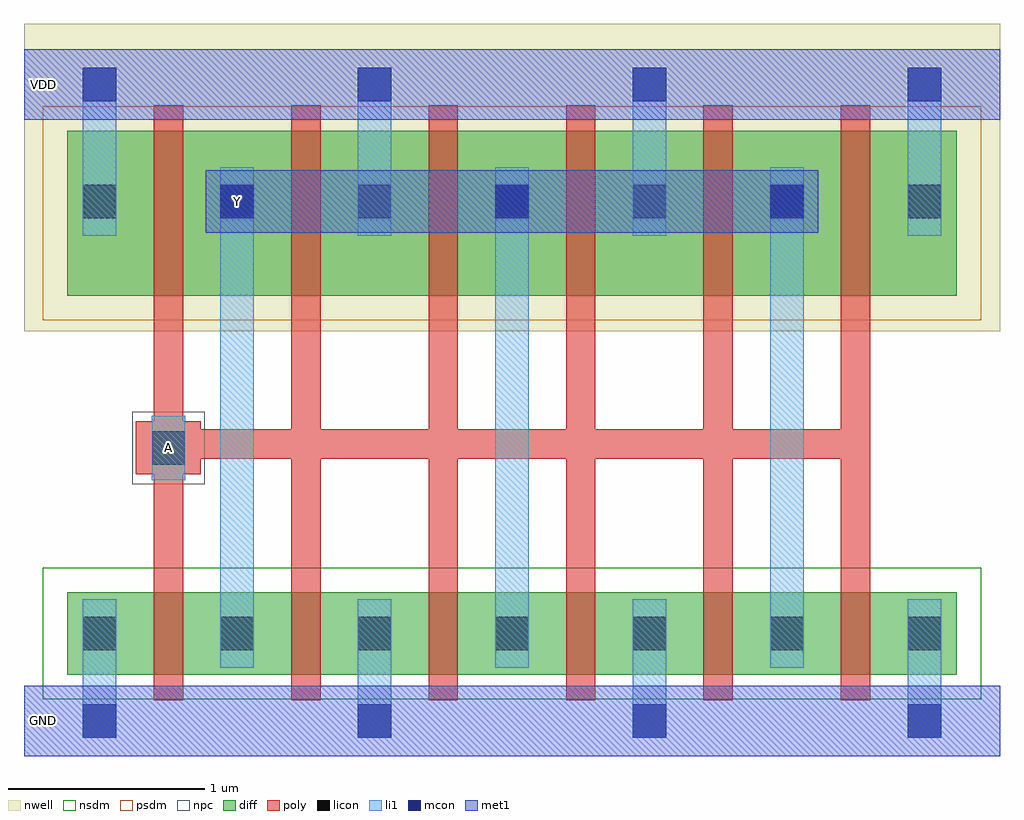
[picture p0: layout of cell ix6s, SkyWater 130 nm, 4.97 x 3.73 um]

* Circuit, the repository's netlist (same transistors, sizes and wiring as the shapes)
* NGSPICE file created from ix6s.ext - technology: sky130A

.subckt ix6s A Y VDD GND
X0 VDD A Y w_0_397# sky130_fd_pr__pfet_01v8 ad=0.231 pd=1.39 as=0.231 ps=1.39 w=0.84 l=0.15
X1 GND A Y VSUBS sky130_fd_pr__nfet_01v8 ad=0.1848 pd=1.72 as=0.1155 ps=0.97 w=0.42 l=0.15
X2 GND A Y VSUBS sky130_fd_pr__nfet_01v8 ad=0.1155 pd=0.97 as=0.1155 ps=0.97 w=0.42 l=0.15
X3 GND A Y VSUBS sky130_fd_pr__nfet_01v8 ad=0.1155 pd=0.97 as=0.1155 ps=0.97 w=0.42 l=0.15
X4 Y A VDD w_0_397# sky130_fd_pr__pfet_01v8 ad=0.231 pd=1.39 as=0.231 ps=1.39 w=0.84 l=0.15
X5 VDD A Y w_0_397# sky130_fd_pr__pfet_01v8 ad=0.231 pd=1.39 as=0.231 ps=1.39 w=0.84 l=0.15
X6 VDD A Y w_0_397# sky130_fd_pr__pfet_01v8 ad=0.3696 pd=2.56 as=0.231 ps=1.39 w=0.84 l=0.15
X7 Y A GND VSUBS sky130_fd_pr__nfet_01v8 ad=0.1155 pd=0.97 as=0.1155 ps=0.97 w=0.42 l=0.15
X8 Y A VDD w_0_397# sky130_fd_pr__pfet_01v8 ad=0.231 pd=1.39 as=0.231 ps=1.39 w=0.84 l=0.15
X9 Y A VDD w_0_397# sky130_fd_pr__pfet_01v8 ad=0.231 pd=1.39 as=0.3696 ps=2.56 w=0.84 l=0.15
X10 Y A GND VSUBS sky130_fd_pr__nfet_01v8 ad=0.1155 pd=0.97 as=0.1155 ps=0.97 w=0.42 l=0.15
X11 Y A GND VSUBS sky130_fd_pr__nfet_01v8 ad=0.1155 pd=0.97 as=0.1848 ps=1.72 w=0.42 l=0.15
.ends

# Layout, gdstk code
import gdstk
lib = gdstk.Library(unit=1e-6, precision=1e-09)
def R(c, l, rs):  # rectangles x0, y0, x1, y1
    for r in rs: c.add(gdstk.rectangle(r[:2], r[2:], *l))
def A(c, l, x, y, w, h, nx, ny, dx, dy):  # array of equal rectangles
    R(c, l, [(x+i*dx, y+j*dy, x+i*dx+w, y+j*dy+h) for i in range(nx) for j in range(ny)])
nwell = (64, 20)
diff = (65, 20)
poly = (66, 20)
licon = (66, 44)
li1 = (67, 20)
mcon = (67, 44)
met1 = (68, 20)
nsdm = (93, 44)
psdm = (94, 20)
npc = (95, 20)

ix6s = lib.new_cell('ix6s')
R(ix6s, nwell, [(0,1.985,4.97,3.55)])
R(ix6s, diff, [(0.22,0.235,4.75,0.655), (0.22,2.165,4.75,3.005)])
A(ix6s, poly, 1.36, 0.105, 0.15, 1.23, 5, 1, 0.7, 0)
A(ix6s, poly, 1.36, 1.485, 0.15, 1.65, 5, 1, 0.7, 0)
R(ix6s, poly, [(0.66,0.105,0.81,1.255), (0.57,1.255,0.9,1.335), (0.57,1.335,4.31,1.485), (0.57,1.485,0.9,1.525), (0.66,1.525,0.81,3.135)])
A(ix6s, licon, 0.3, 0.36, 0.17, 0.17, 7, 2, 0.7, 2.2)
R(ix6s, licon, [(0.65,1.305,0.82,1.475)])
A(ix6s, li1, 0.3, -0.085, 0.17, 0.705, 4, 1, 1.4, 0)
A(ix6s, li1, 1, 0.27, 0.17, 2.55, 3, 1, 1.4, 0)
A(ix6s, li1, 0.3, 2.47, 0.17, 0.855, 4, 1, 1.4, 0)
R(ix6s, li1, [(0.65,1.225,0.82,1.555)])
A(ix6s, mcon, 0.3, -0.085, 0.17, 0.17, 4, 2, 1.4, 3.24)
A(ix6s, mcon, 1, 2.56, 0.17, 0.17, 3, 1, 1.4, 0)
R(ix6s, met1, [(0,-0.18,4.97,0.18), (0.925,2.485,4.045,2.805), (0,3.06,4.97,3.42)])
R(ix6s, nsdm, [(0.095,0.11,4.875,0.78)])
R(ix6s, psdm, [(0.095,2.04,4.875,3.13)])
R(ix6s, npc, [(0.55,1.205,0.92,1.575)])
ix6s.add(gdstk.Label('A', (0.735,1.39), layer=67, texttype=5))
ix6s.add(gdstk.Label('Y', (1.085,2.645), layer=68, texttype=5))
ix6s.add(gdstk.Label('VDD', (0.1,3.24), layer=68, texttype=5))
ix6s.add(gdstk.Label('GND', (0.1,0), layer=68, texttype=5))

lib.write_gds('ix6s.gds')
